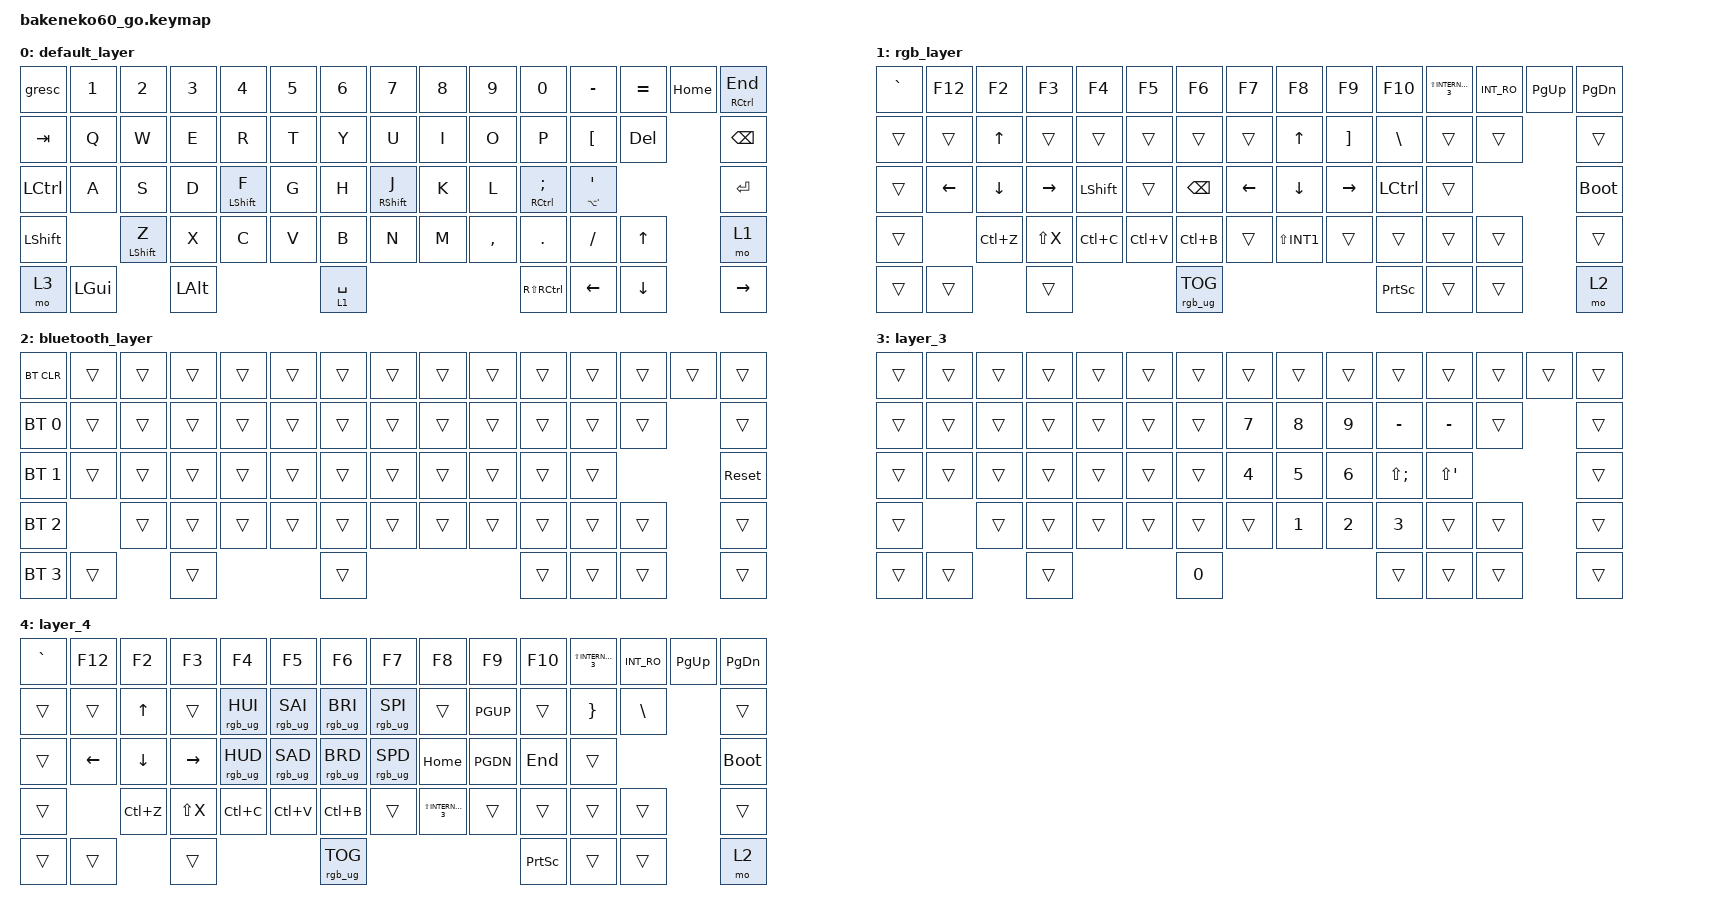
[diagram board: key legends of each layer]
/*
 * Copyright (c) 2023 Andrew Kannan
 *
 * SPDX-License-Identifier: MIT
 */

#include <behaviors.dtsi>
#include <dt-bindings/zmk/bt.h>
#include <dt-bindings/zmk/keys.h>
#include <dt-bindings/zmk/rgb.h>

/ {
    behaviors {
        new_behavior: new_behavior {
            compatible = "zmk,behavior-hold-tap";
            label = "NEW_BEHAVIOR";
            bindings = <&kp>, <&kp>;

            #binding-cells = <2>;
            flavor = "tap-preferred";
            tapping-term-ms = <150>;
        };
    };

    keymap {
        compatible = "zmk,keymap";

        default_layer {
            // ------------------------------------------------------------------------------------------
            // | ESC |  1  |  2  |  3  |  4  |  5  |  6  |  7  |  8  |  9  |  0  |  -  |  =  | BKSP|BKSP|
            // | TAB  |  Q  |  W  |  E  |  R  |  T  |  Y  |  U  |  I  |  O  |  P  |  [  |  ]  |   "|"   |
            // | CAPS  |  A  |  S  |  D  |  F  |  G  |  H  |  J  |  K  |  L  |  ;  |  '  |     ENTER    |
            // |  SHIFT  |  Z  |  X  |  C  |  V  |  B  |  N  |  M  |  ,  |  .  |  /  |  SHIFT  | MO(1)  |
            // |  CTL  |  WIN  |  ALT  |            SPACE              |  ALT  |  WIN  |  MO(1) |  CTL  |
            // ------------------------------------------------------------------------------------------

            bindings = <
&gresc     &kp N1    &kp N2                      &kp N3    &kp N4                      &kp N5  &kp N6       &kp N7                       &kp N8  &kp N9     &kp N0                    &kp MINUS                  &kp EQUAL     &kp HOME  &new_behavior RIGHT_CONTROL END
&kp TAB    &kp Q     &kp W                       &kp E     &kp R                       &kp T   &kp Y        &kp U                        &kp I   &kp O      &kp P                     &kp LBKT                   &kp DELETE              &kp BACKSPACE
&kp LCTRL  &kp A     &kp S                       &kp D     &new_behavior LEFT_SHIFT F  &kp G   &kp H        &new_behavior RIGHT_SHIFT J  &kp K   &kp L      &new_behavior RCTRL SEMI  &new_behavior LA(SQT) SQT                          &kp RET
&kp LSHFT            &new_behavior LEFT_SHIFT Z  &kp X     &kp C                       &kp V   &kp B        &kp N                        &kp M   &kp COMMA  &kp DOT                   &kp FSLH                   &kp UP_ARROW            &mo 1
&mo 3      &kp LGUI                              &kp LALT                                      &lt 1 SPACE                                                  &kp RS(RCTRL)             &kp LEFT                   &kp DOWN                &kp RIGHT
            >;
        };

        rgb_layer {
            // ------------------------------------------------------------------------------------------------
            // |    `   | F1  | F2  | F3  | F4  | F5  | F6  | F7  | F8  | F9  | F10  | F11 | F12 |     | DEL  |
            // | EFCT REV|   |  UP |   | HUEUP | SATUP | BRIUP | SPDUP |      |  PGUP |    |     |    |       |
            // | EFCT FWD | LT |  DN  | RT | HUEDN | SATDN | BRIDN | SPDDN | HOME | PGDN | END  |  | BOOTLDR  |
            // |             |     |      |      |     |     |     |     |     |     |     |         |        |
            // |         |      |      |             TOG RGB                | PRT SCR |       |       |  MO(2)|
            // ------------------------------------------------------------------------------------------------

            bindings = <
&kp GRAVE  &kp F12   &kp F2     &kp F3     &kp F4          &kp F5     &kp F6           &kp F7    &kp F8        &kp F9             &kp F10        &kp LS(INTERNATIONAL_3)  &kp INT_RO  &kp PAGE_UP  &kp PAGE_DOWN
&trans     &trans    &kp UP     &trans     &trans          &trans     &trans           &trans    &kp UP        &kp RIGHT_BRACKET  &kp BACKSLASH  &trans                   &trans                   &trans
&trans     &kp LEFT  &kp DOWN   &kp RIGHT  &kp LEFT_SHIFT  &trans     &kp BACKSPACE    &kp LEFT  &kp DOWN      &kp RIGHT          &kp LCTRL      &trans                                            &bootloader
&trans               &kp LC(Z)  &kp LS(X)  &kp LC(C)       &kp LC(V)  &kp LC(B)        &trans    &kp LS(INT1)  &trans             &trans         &trans                   &trans                   &trans
&trans     &trans               &trans                                &rgb_ug RGB_TOG                                             &kp PSCRN      &trans                   &trans                   &mo 2
            >;
        };

        bluetooth_layer {
            // ------------------------------------------------------------------------------------------------
            // | BT CLR |     |     |     |     |     |     |     |     |     |     |    |    |       |       |
            // |  BT 1   |   |     |   |       |       |       |       |   |     |    |     |     |           |
            // |   BT 2   |    |      |    |       |       |       |       |      |      |      |  |   Reset  |
            // |    BT 3     |     |      |      |     |     |     |     |     |     |     |         |        |
            // |   BT 4  |      |      |                                    |         |       |       |       |
            // ------------------------------------------------------------------------------------------------

            bindings = <
&bt BT_CLR    &trans  &trans  &trans  &trans  &trans  &trans  &trans  &trans  &trans  &trans  &trans  &trans  &trans  &trans
&bt BT_SEL 0  &trans  &trans  &trans  &trans  &trans  &trans  &trans  &trans  &trans  &trans  &trans  &trans          &trans
&bt BT_SEL 1  &trans  &trans  &trans  &trans  &trans  &trans  &trans  &trans  &trans  &trans  &trans                  &sys_reset
&bt BT_SEL 2          &trans  &trans  &trans  &trans  &trans  &trans  &trans  &trans  &trans  &trans  &trans          &trans
&bt BT_SEL 3  &trans          &trans                  &trans                          &trans  &trans  &trans          &trans
            >;
        };

        layer_3 {
            bindings = <
&trans  &trans  &trans  &trans  &trans  &trans  &trans  &trans        &trans  &trans        &trans        &trans        &trans  &trans  &trans
&trans  &trans  &trans  &trans  &trans  &trans  &trans  &kp N7        &kp N8  &kp N9        &kp MINUS     &kp MINUS     &trans          &trans
&trans  &trans  &trans  &trans  &trans  &trans  &trans  &kp NUMBER_4  &kp N5  &kp NUMBER_6  &kp LS(SEMI)  &kp LS(APOS)                  &trans
&trans          &trans  &trans  &trans  &trans  &trans  &trans        &kp N1  &kp N2        &kp N3        &trans        &trans          &trans
&trans  &trans          &trans                  &kp N0                                      &trans        &trans        &trans          &trans
            >;
        };

        layer_4 {
            bindings = <
&kp GRAVE  &kp F12   &kp F2     &kp F3     &kp F4           &kp F5           &kp F6           &kp F7           &kp F8                   &kp F9    &kp F10    &kp LS(INTERNATIONAL_3)  &kp INT_RO     &kp PAGE_UP  &kp PAGE_DOWN
&trans     &trans    &kp UP     &trans     &rgb_ug RGB_HUI  &rgb_ug RGB_SAI  &rgb_ug RGB_BRI  &rgb_ug RGB_SPI  &trans                   &kp PGUP  &trans     &kp RIGHT_BRACE          &kp BACKSLASH               &trans
&trans     &kp LEFT  &kp DOWN   &kp RIGHT  &rgb_ug RGB_HUD  &rgb_ug RGB_SAD  &rgb_ug RGB_BRD  &rgb_ug RGB_SPD  &kp HOME                 &kp PGDN  &kp END    &trans                                               &bootloader
&trans               &kp LC(Z)  &kp LS(X)  &kp LC(C)        &kp LC(V)        &kp LC(B)        &trans           &kp LS(INTERNATIONAL_3)  &trans    &trans     &trans                   &trans                      &trans
&trans     &trans               &trans                                       &rgb_ug RGB_TOG                                                      &kp PSCRN  &trans                   &trans                      &mo 2
            >;
        };
    };

    combos {
        compatible = "zmk,combos";

        combo_bt {
            timeout-ms = <50>;
            key-positions = <61 62>;
            bindings = <&mo 2>;
        };

        Apostrophe {
            bindings = <&kp LS(N7)>;
            key-positions = <37 36>;
        };

        DoubleQuote {
            bindings = <&kp LS(NUMBER_2)>;
            key-positions = <37 38>;
        };

        LeftParen {
            bindings = <&kp LS(N8)>;
            key-positions = <8 9>;
        };

        RightParen {
            bindings = <&kp LS(N9)>;
            key-positions = <9 10>;
        };

        FVEnter {
            bindings = <&kp ENTER>;
            key-positions = <33 46>;
        };

        JNLang {
            bindings = <&kp GRAVE>;
            key-positions = <36 48>;
        };

        KMBackspace {
            bindings = <&kp BACKSPACE>;
            key-positions = <37 49>;
        };
    };
};
